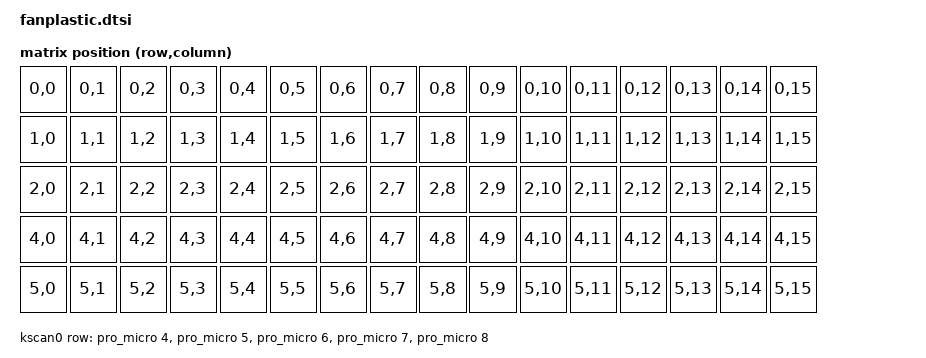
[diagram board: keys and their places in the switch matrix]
/*
 * Copyright (c) 2020 Pete Johanson
 *
 * SPDX-License-Identifier: MIT
 */

#include <dt-bindings/zmk/matrix_transform.h>
#include "fanplastic-layouts.dtsi"

/ {
    chosen {
//        zephyr,display = &oled;
        zmk,kscan = &kscan0;
        zmk,physical-layout = &fanplastic_layout;
    };

    default_transform: keymap_transform_0 {
        compatible = "zmk,matrix-transform";
        columns = <16>;
        rows = <5>;
// | SW0x00 | SW0x01 | SW0x02 | SW0x03 | SW0x04 | SW0x05 | SW0x06 | SW0x07 |  | SW0x00 | SW0x01 | SW0x02 | SW0x03 | SW0x04 | SW0x05 | SW0x06 | SW0x07 |
// | SW0x08 | SW0x09 | SW0x0A | SW0x0B | SW0x0C | SW0x0D | SW0x0E | SW0x0F |  | SW0x08 | SW0x09 | SW0x0A | SW0x0B | SW0x0C | SW0x0D | SW0x0E | SW0x0F |
// | SW0x10 | SW0x11 | SW0x12 | SW0x13 | SW0x14 | SW0x15 | SW0x16 | SW0x17 |  | SW0x10 | SW0x11 | SW0x12 | SW0x13 | SW0x14 | SW0x15 | SW0x16 | SW0x17 |
// | SW0x18 | SW0x19 | SW0x1A | SW0x1B | SW0x1C | SW0x1D | SW0x1E | SW0x1F |  | SW0x18 | SW0x19 | SW0x1A | SW0x1B | SW0x1C | SW0x1D | SW0x1E | SW0x1F |
// | SW0x20 | SW0x21 | SW0x22 | SW0x23 | SW0x24 | SW0x25 | SW0x26 | SW0x27 |  | SW0x20 | SW0x21 | SW0x22 | SW0x23 | SW0x24 | SW0x25 | SW0x26 | SW0x27 |
        map = <
    RC(0,0)  RC(0,1)  RC(0,2)  RC(0,3)  RC(0,4)  RC(0,5)  RC(0,6)  RC(0,7)     RC(0,8)  RC(0,9)  RC(0,10) RC(0,11) RC(0,12) RC(0,13) RC(0,14) RC(0,15)
    RC(1,0)  RC(1,1)  RC(1,2)  RC(1,3)  RC(1,4)  RC(1,5)  RC(1,6)  RC(1,7)     RC(1,8)  RC(1,9)  RC(1,10) RC(1,11) RC(1,12) RC(1,13) RC(1,14) RC(1,15)
    RC(2,0)  RC(2,1)  RC(2,2)  RC(2,3)  RC(2,4)  RC(2,5)  RC(2,6)  RC(2,7)     RC(2,8)  RC(2,9)  RC(2,10) RC(2,11) RC(2,12) RC(2,13) RC(2,14) RC(2,15)
    RC(4,0)  RC(4,1)  RC(4,2)  RC(4,3)  RC(4,4)  RC(4,5)  RC(4,6)  RC(4,7)     RC(4,8)  RC(4,9)  RC(4,10) RC(4,11) RC(4,12) RC(4,13) RC(4,14) RC(4,15)
    RC(5,0)  RC(5,1)  RC(5,2)  RC(5,3)  RC(5,4)  RC(5,5)  RC(5,6)  RC(5,7)     RC(5,8)  RC(5,9)  RC(5,10) RC(5,11) RC(5,12) RC(5,13) RC(5,14) RC(5,15)
        >;
    };

    kscan0: kscan0 {
        compatible = "zmk,kscan-gpio-matrix";
        wakeup-source;

        diode-direction = "col2row";
        row-gpios
            = <&pro_micro 4 (GPIO_ACTIVE_HIGH | GPIO_PULL_DOWN)>
            , <&pro_micro 5 (GPIO_ACTIVE_HIGH | GPIO_PULL_DOWN)>
            , <&pro_micro 6 (GPIO_ACTIVE_HIGH | GPIO_PULL_DOWN)>
            , <&pro_micro 7 (GPIO_ACTIVE_HIGH | GPIO_PULL_DOWN)>
            , <&pro_micro 8 (GPIO_ACTIVE_HIGH | GPIO_PULL_DOWN)>
            ;
    };

    // TODO: per-key RGB node(s)?
};

&fanplastic_layout { 
    kscan = <&kscan0>;
    transform = <&default_transform>;
};

&pro_micro_i2c {
    status = "okay";

    oled: ssd1306@3c {
        compatible = "solomon,ssd1306fb";
        reg = <0x3c>;
        width = <128>;
        height = <32>;
        segment-offset = <0>;
        page-offset = <0>;
        display-offset = <0>;
        multiplex-ratio = <31>;
        segment-remap;
        com-invdir;
        com-sequential;
        inversion-on;
        prechargep = <0x22>;
    };
};
